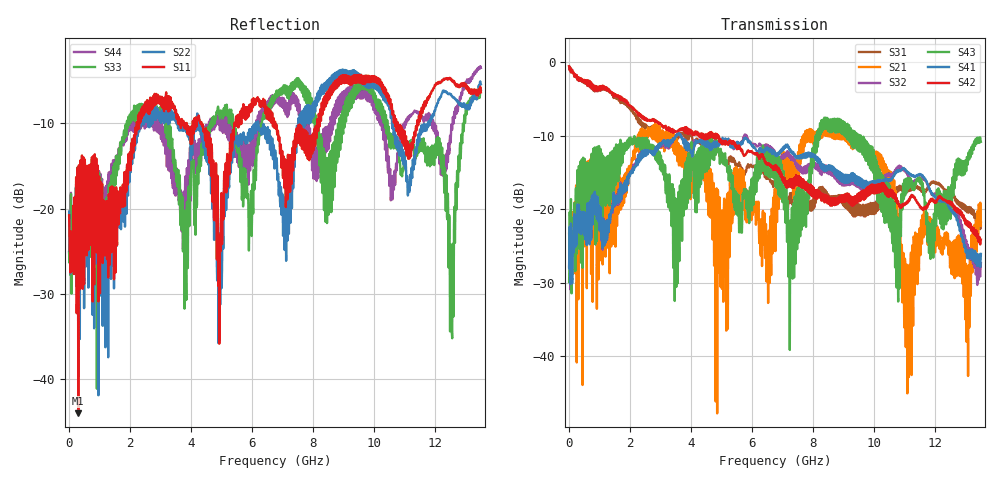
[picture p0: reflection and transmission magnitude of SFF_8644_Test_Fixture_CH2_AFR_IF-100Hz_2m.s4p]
!Keysight Technologies,N5231B,MY57181281,A.17.25.05
!Date: Friday, March 07, 2025 17:03:43
!Correction: S11(C  4-Port  )
!S12(C  4-Port  )
!S13(C  4-Port  )
!S14(C  4-Port  )
!S21(C  4-Port  )
!S22(C  4-Port  )
!S23(C  4-Port  )
!S24(C  4-Port  )
!S31(C  4-Port  )
!S32(C  4-Port  )
!S33(C  4-Port  )
!S34(C  4-Port  )
!S41(C  4-Port  )
!S42(C  4-Port  )
!S43(C  4-Port  )
!S44(C  4-Port  )
!S4P File: Measurements: <S11,S12,S13,S14>,
!<S21,S22,S23,S24>,
!<S31,S32,S33,S34>,
!<S41,S42,S43,S44>:
# Hz S  dB  R 50
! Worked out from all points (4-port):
!   1350 points, 10 MHz to 13.5 GHz, reference 50 ohm
!   strongest paths, dB at 10 MHz, 3.38 GHz, 6.76 GHz, 10.13 GHz, 13.5 GHz:
!     S42: -0.6, -9.4, -14.4, -17.0, -24.1
!     S41: -28.0, -10.5, -12.6, -16.3, -26.1
!     S43: -29.9, -20.4, -16.9, -14.1, -10.8
!     S32: -27.8, -10.6, -12.7, -16.2, -27.3
!     S21: -23.3, -11.0, -19.7, -12.3, -22.2
!     S31: -0.5, -10.9, -16.1, -18.9, -21.8
!   lowest |S11| = -44.1 dB at 310 MHz (marker M1), VSWR 1.01, Z = 49.4 + j0.136 ohm
!   |S11| at or under -10 dB: start of sweep to 2.225 GHz; 4.348 GHz to 5.426 GHz (1.078 GHz wide, 22.1 % of centre); 6.765 GHz to 8.135 GHz (1.369 GHz wide, 18.4 % of centre)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
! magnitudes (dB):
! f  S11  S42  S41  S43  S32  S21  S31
! 10 MHz  -20.8  -0.6  -28.0  -29.9  -27.8  -23.3  -0.5
! 310 MHz  -44.1  -2.0  -22.6  -22.8  -22.5  -32.2  -2.1
! 4.96 GHz  -24.5  -10.4  -11.2  -12.6  -11.0  -26.2  -12.3
! 9.63 GHz  -4.5  -18.0  -16.7  -12.6  -17.2  -11.7  -20.1
! 11.09 GHz  -12.1  -18.9  -15.0  -15.9  -15.3  -45.0  -17.4
! 12.55 GHz  -5.0  -19.0  -20.1  -19.9  -20.4  -27.3  -17.6
! 13.5 GHz  -6.3  -24.1  -26.1  -10.8  -27.3  -22.2  -21.8
